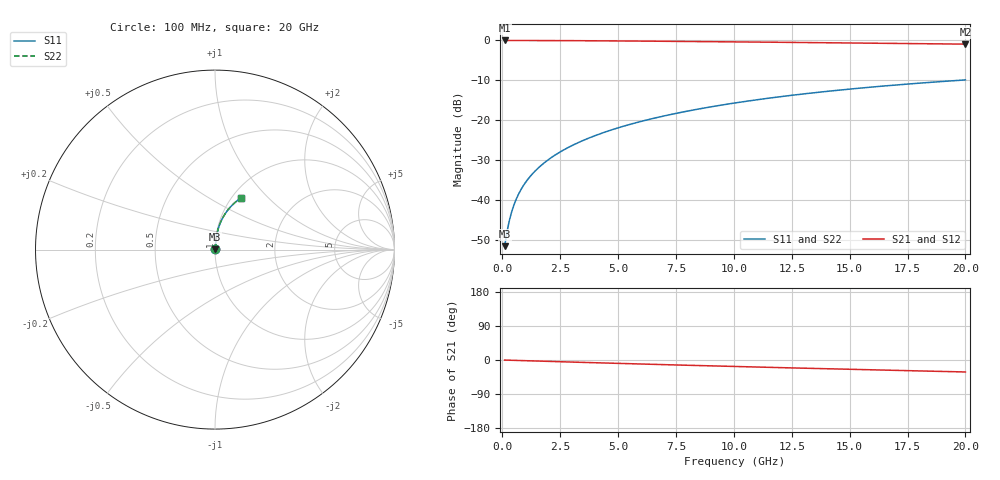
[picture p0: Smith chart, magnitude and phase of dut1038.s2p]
! Touchstone file exported from HFSS 2024.1.0
!  File:  C:/UserFiles/LocalFiles/RDL_TSV_Batchsim/temp_RDL_top_1038_1780043920.aedt
!  Generated:  04:41:11 PM May 29, 2026
!  Design:  RDL_top
!  Project:  temp_RDL_top_1038_1780043920
!  Setup:  Setup1
!  Solution:  Sweep
! Variables:
!  dtsv = 10.80580581um
!  hbump = 3um
!  htsv = 63.98um
!  ldown = 100um
!  lrdl = 439.86um
!  p = 40
!  p1 = 45.14um
!  rhole = 1um
!  t = 450um
!  tdown = 3.915915916um
!  trdl = 4.64um
!  wdown = 15.38538539um
!  wrdl = 17.49um
# GHz S MA R 50.000000
! Terminal data exported
! Port[1] = Box2_T1
! Port[2] = Box2_T2
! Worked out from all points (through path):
!   200 points, 100 MHz to 20 GHz, reference 50 ohm
!   highest |S21| = -0.02 dB at 100 MHz (marker M1); lowest = -0.9 dB at 20 GHz (marker M2)
!   group delay of S21, straight-line fit = 4.36 ps
!   lowest |S11| = -51.5 dB at 100 MHz (marker M3), VSWR 1.01, Z = 50.2 + j0.172 ohm
!   |S11| at or under -10 dB: start of sweep to 19.7 GHz
!   |S22| runs from -51.5 to -9.9 dB; largest |S21 - S12| = 2.2e-15
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0.1  0.002675 39.9  0.9979 -0.2  0.9979 -0.2  0.002675 39.9
! Gamma 0 0 0 0
! Port Impedance 50 0 50 0
0.2  0.003996 58.9  0.9978 -0.4  0.9978 -0.4  0.003996 58.9
0.3  0.005522 67.8  0.9977 -0.6  0.9977 -0.6  0.005523 67.8
0.4  0.00711 72.7  0.9976 -0.8  0.9976 -0.8  0.00711 72.7
0.5  0.008715 75.6  0.9975 -0.9  0.9975 -0.9  0.008716 75.6
0.6  0.01032 77.6  0.9974 -1.1  0.9974 -1.1  0.01032 77.6
0.8  0.01352 79.9  0.9972 -1.5  0.9972 -1.5  0.01352 79.9
1.1  0.01828 81.7  0.9968 -2.0  0.9968 -2.0  0.01828 81.7
1.5  0.02457 82.9  0.9961 -2.8  0.9961 -2.8  0.02457 82.9
1.8  0.02928 83.4  0.9955 -3.3  0.9955 -3.3  0.02928 83.4
2.1  0.034 83.7  0.9949 -3.8  0.9949 -3.8  0.034 83.7
2.7  0.04349 84.0  0.9932 -4.9  0.9932 -4.9  0.04349 84.0
3.5  0.05627 84.0  0.9906 -6.3  0.9906 -6.3  0.05627 84.0
4.2  0.06759 83.8  0.9879 -7.6  0.9879 -7.6  0.06759 83.8
5  0.08066 83.3  0.9845 -8.9  0.9845 -8.9  0.08066 83.3
5.9  0.09552 82.6  0.9802 -10.5  0.9802 -10.5  0.09552 82.6
6.8  0.1105 81.7  0.9757 -12.0  0.9757 -12.0  0.1105 81.7
8.4  0.1374 79.9  0.9673 -14.5  0.9673 -14.5  0.1374 79.9
10.1  0.166 77.7  0.9578 -17.2  0.9578 -17.2  0.166 77.7
13.4  0.2205 73.0  0.9385 -22.2  0.9385 -22.2  0.2205 73.0
16.7  0.2723 68.2  0.9183 -27.0  0.9183 -27.0  0.2723 68.2
20  0.3205 63.5  0.8975 -31.6  0.8975 -31.6  0.3205 63.5
